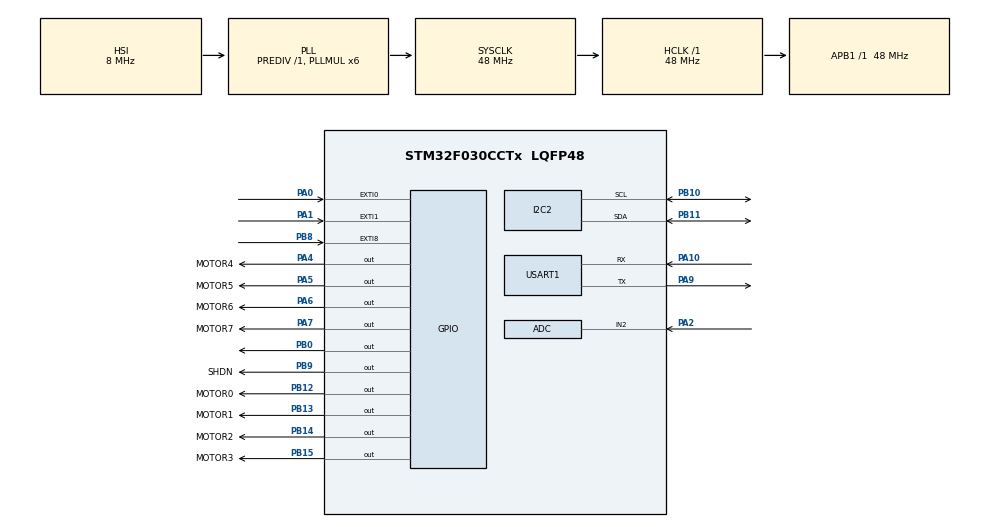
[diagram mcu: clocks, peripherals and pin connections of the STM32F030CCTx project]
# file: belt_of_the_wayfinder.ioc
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Mcu.Family=STM32F0
PB10.Mode=I2C
PB14.GPIO_Label=MOTOR2
I2C2.Timing=0x20303E5D
PA6.GPIO_Label=MOTOR6
PB13.GPIO_Label=MOTOR1
PB11.Signal=I2C2_SDA
PB13.Signal=GPIO_Output
PB15.Signal=GPIO_Output
PA5.PinState=GPIO_PIN_RESET
PB15.PinState=GPIO_PIN_RESET
RCC.SYSCLKSource=RCC_SYSCLKSOURCE_PLLCLK
ProjectManager.StackSize=0x400
PB11.GPIO_Speed=GPIO_SPEED_FREQ_HIGH
PA7.PinState=GPIO_PIN_RESET
RCC.HCLKFreq_Value=48000000
PB12.PinState=GPIO_PIN_RESET
RCC.AHBFreq_Value=48000000
PA4.GPIO_PuPd=GPIO_PULLDOWN
RCC.Usart1ClockSelection=RCC_USART1CLKSOURCE_HSI
RCC.PLLMUL=RCC_PLL_MUL6
PA4.GPIO_Speed=GPIO_SPEED_FREQ_MEDIUM
PB12.GPIO_Label=MOTOR0
PA6.GPIO_PuPd=GPIO_PULLDOWN
PA14.Mode=Serial_Wire
PA5.GPIO_PuPd=GPIO_PULLDOWN
TIM16.Pulse=1200
PA0.Signal=GPXTI0
PB9.Signal=GPIO_Output
Mcu.Package=LQFP48
PB14.GPIO_PuPd=GPIO_PULLDOWN
PA6.Signal=GPIO_Output
PB15.GPIO_PuPd=GPIO_PULLDOWN
PA10.Signal=USART1_RX
PB9.GPIO_PuPd=GPIO_PULLDOWN
RCC.APB1TimFreq_Value=48000000
TIM16.Prescaler=1-1
PA6.GPIO_Speed=GPIO_SPEED_FREQ_MEDIUM
PB11.GPIO_Mode=GPIO_MODE_AF_OD
PA4.GPIO_Label=MOTOR4
NVIC.EXTI4_15_IRQn=true\:0\:0\:false\:false\:true\:true\:true
PB9.GPIO_Label=SHDN
PA10.Mode=Asynchronous
PB11.GPIO_PuPdOD=GPIO_PULLUP
PA6.PinState=GPIO_PIN_RESET
VP_TIM16_VS_ClockSourceINT.Mode=Enable_Timer
NVIC.TIM16_IRQn=true\:0\:0\:false\:false\:true\:true\:true
TIM16.Channel=TIM_CHANNEL_1
USART1.VirtualMode-Asynchronous=VM_ASYNC
PA13.Signal=SYS_SWDIO
PA9.Mode=Asynchronous
PB14.PinState=GPIO_PIN_RESET
PA4.PinState=GPIO_PIN_RESET
PB11.Mode=I2C
ProjectManager.TargetToolchain=STM32CubeIDE
PB14.GPIO_Speed=GPIO_SPEED_FREQ_MEDIUM
PA9.Signal=USART1_TX
PB13.GPIO_Speed=GPIO_SPEED_FREQ_MEDIUM
PA7.GPIO_PuPd=GPIO_PULLDOWN
PA1.Signal=GPXTI1
PB12.GPIO_Speed=GPIO_SPEED_FREQ_MEDIUM
PB10.Signal=I2C2_SCL
PB14.Signal=GPIO_Output
PA5.Signal=GPIO_Output
board=custom
PA7.GPIO_Speed=GPIO_SPEED_FREQ_MEDIUM
PB13.GPIO_PuPd=GPIO_PULLDOWN
TIM16.Period=2400-1
PB13.PinState=GPIO_PIN_RESET
VP_TIM16_VS_no_output1.Mode=Output Compare1 No Output
PB15.GPIO_Label=MOTOR3
PB15.GPIO_Speed=GPIO_SPEED_FREQ_MEDIUM
PA13.Mode=Serial_Wire
Mcu.Name=STM32F030CCTx
PA2.Signal=ADC_IN2
PA4.Signal=GPIO_Output
RCC.SYSCLKFreq_VALUE=48000000
PA7.GPIO_Label=MOTOR7
PA5.GPIO_Label=MOTOR5
PA14.Signal=SYS_SWCLK
ProjectManager.HeapSize=0x200
PA5.GPIO_Speed=GPIO_SPEED_FREQ_MEDIUM
PA2.Mode=IN2
PB8.Signal=GPXTI8
PB12.GPIO_PuPd=GPIO_PULLDOWN
RCC.APB1Freq_Value=48000000
PB0.Signal=GPIO_Output
PB12.Signal=GPIO_Output
PA7.Signal=GPIO_Output
NVIC.EXTI0_1_IRQn=true\:0\:0\:false\:false\:true\:true\:true

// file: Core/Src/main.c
/* USER CODE BEGIN Header */
/**
  ******************************************************************************
  * @file           : main.c
  * @brief          : Main program body
  ******************************************************************************
  * @attention
  *
  * <h2><center>&copy; Copyright (c) 2022 STMicroelectronics.
  * All rights reserved.</center></h2>
  *
  * This software component is licensed by ST under BSD 3-Clause license,
  * the "License"; You may not use this file except in compliance with the
  * License. You may obtain a copy of the License at:
  *                        opensource.org/licenses/BSD-3-Clause
  *
  ******************************************************************************
  */

/**
 * How does this code function?
 * This section serves as notes and planning for a very lazy developer.  Here's the general idea
 * When the device starts up, it checks the compass's current direction.  It then draws a vector
 * pointing in that direction and determines which motors to vibrate (max 3) and turns them on.
 *
 * For now thats it.  Later can try interesting things with changing the vibration period and tone.
 */

/* USER CODE END Header */
#include "main.h"
#include "adc.h"
#include "i2c.h"
#include "tim.h"
#include "usart.h"
#include "gpio.h"

/* USER CODE BEGIN Includes */
#include <stdio.h>
#include <math.h>

/* USER CODE END Includes */

/* USER CODE BEGIN PV */

typedef struct {
	float x;
	float y;
} compass_vector_t;

typedef struct __attribute__((packed)) {
	int16_t X;
	int16_t Y;
	int16_t Z;
} magnetometer_reading_t;

typedef enum {
	SINGLE_BLINK,
	DOUBLE_BLINK,
} blink_type_t;

// register definitions
#define MAG_I2C_ID (0x1E << 1)
#define MAG_REG_CFG_A (0x60)
#define MAG_REG_CFG_C (0x62)
#define MAG_REG_OFFSETX_L (0x45)
#define MAG_REG_OUTX_L (0x68)

#define IMU_I2C_ID (0x6A << 1)
#define IMU_REG_WHOAMI (0x0F)
#define IMU_REG_MD1_CFG (0x5E)
#define IMU_REG_TAP_CFG (0x58)
#define IMU_REG_CTRL1_XL (0x10)
#define IMU_REG_TAPSRC (0x1C)
#define IMU_REG_FUNC_CFG_ACCESS (0x01)
#define IMU_REG_FIFO_CTRL5 (0x0A)

#define IMU_MD1_CFG (0b00001000)
#define IMU_TAP_CFG (0b10001111)  // TODO remove last bit as latch
#define IMU_CTRL1_XL (0b01000000)
#define IMU_FUNC_CFG_ACCESS (0b10100000)
#define IMU_FIFO_CTRL5 (0b00100110)

static magnetometer_reading_t mag_offset = {
	.X = -136,
	.Y = -352,
	.Z = -216
};

GPIO_TypeDef* motor_ports[] = {GPIOB, GPIOB, GPIOB, GPIOB, GPIOA, GPIOA, GPIOA, GPIOA};
uint16_t motor_pins[] = {GPIO_PIN_12, GPIO_PIN_13, GPIO_PIN_14, GPIO_PIN_15, GPIO_PIN_4, GPIO_PIN_5, GPIO_PIN_6, GPIO_PIN_7};
unsigned int target_buzzer = 0;

#define LED_PORT GPIOB
#define LED_PIN GPIO_PIN_0

/* USER CODE END PV */

void SystemClock_Config(void);
/* USER CODE BEGIN PFP */

static void init_mag(void);
static void init_imu(void);
static void get_compass_direction(compass_vector_t *direction);
static void set_buzzers(compass_vector_t *direction);
static void error_blink(blink_type_t blink_type);
static void set_mag_offset(void);
static void motor_test(void);
static void configure_charger(void);
static void configure_motors(void);

/* USER CODE END PFP */

int main(void)
{

  /* MCU Configuration--------------------------------------------------------*/

  /* Reset of all peripherals, Initializes the Flash interface and the Systick. */
  HAL_Init();

  /* Configure the system clock */
  SystemClock_Config();

  /* USER CODE BEGIN SysInit */
/*
  HAL_NVIC_DisableIRQ(SysTick_IRQn);
  HAL_SYSTICK_CLKSourceConfig(SYSTICK_CLKSOURCE_HCLK);
  HAL_SYSTICK_Config(HAL_RCC_GetHCLKFreq()/1000);
  HAL_NVIC_EnableIRQ(SysTick_IRQn);
*/

  /* USER CODE END SysInit */

  /* Initialize all configured peripherals */
  MX_GPIO_Init();
  MX_ADC_Init();
  MX_I2C2_Init();
  MX_USART1_UART_Init();
  MX_TIM16_Init();
  /* USER CODE BEGIN 2 */
  char *start_string = "belt system initialized!\n";
  HAL_UART_Transmit(&huart1, start_string, sizeof(start_string), 1000);
  /* USER CODE END 2 */

  /* Infinite loop */
  /* USER CODE BEGIN WHILE */
  // nice linky: https://www.youtube.com/watch?v=VfbW6nfG4kw
  // may need to set NVIC enable on the IRQ for the timer: https://electronics.stackexchange.com/questions/544797/output-compares-triggering-function-not-work-on-stm32

  compass_vector_t direction;
  init_mag();
  set_mag_offset();
  init_imu();
  configure_motors();
  configure_charger();
  //motor_test();

  HAL_TIM_Base_Start_IT(&htim16);

  while (1)
  {
	get_compass_direction(&direction);
	configure_motors();
	//set_buzzers(&direction);
	HAL_Delay(500);

    /* USER CODE END WHILE */

  }
}

void SystemClock_Config(void)
{
  RCC_OscInitTypeDef RCC_OscInitStruct = {0};
  RCC_ClkInitTypeDef RCC_ClkInitStruct = {0};
  RCC_PeriphCLKInitTypeDef PeriphClkInit = {0};

  /** Initializes the RCC Oscillators according to the specified parameters
  * in the RCC_OscInitTypeDef structure.
  */
  RCC_OscInitStruct.OscillatorType = RCC_OSCILLATORTYPE_HSI|RCC_OSCILLATORTYPE_HSI14;
  RCC_OscInitStruct.HSIState = RCC_HSI_ON;
  RCC_OscInitStruct.HSI14State = RCC_HSI14_ON;
  RCC_OscInitStruct.HSICalibrationValue = RCC_HSICALIBRATION_DEFAULT;
  RCC_OscInitStruct.HSI14CalibrationValue = 16;
  RCC_OscInitStruct.PLL.PLLState = RCC_PLL_ON;
  RCC_OscInitStruct.PLL.PLLSource = RCC_PLLSOURCE_HSI;
  RCC_OscInitStruct.PLL.PLLMUL = RCC_PLL_MUL6;
  RCC_OscInitStruct.PLL.PREDIV = RCC_PREDIV_DIV1;
  if (HAL_RCC_OscConfig(&RCC_OscInitStruct) != HAL_OK)
  {
    Error_Handler();
  }
  /** Initializes the CPU, AHB and APB buses clocks
  */
  RCC_ClkInitStruct.ClockType = RCC_CLOCKTYPE_HCLK|RCC_CLOCKTYPE_SYSCLK
                              |RCC_CLOCKTYPE_PCLK1;
  RCC_ClkInitStruct.SYSCLKSource = RCC_SYSCLKSOURCE_PLLCLK;
  RCC_ClkInitStruct.AHBCLKDivider = RCC_SYSCLK_DIV1;
  RCC_ClkInitStruct.APB1CLKDivider = RCC_HCLK_DIV1;

  if (HAL_RCC_ClockConfig(&RCC_ClkInitStruct, FLASH_LATENCY_1) != HAL_OK)
  {
    Error_Handler();
  }
  PeriphClkInit.PeriphClockSelection = RCC_PERIPHCLK_USART1;
  PeriphClkInit.Usart1ClockSelection = RCC_USART1CLKSOURCE_HSI;
  if (HAL_RCCEx_PeriphCLKConfig(&PeriphClkInit) != HAL_OK)
  {
    Error_Handler();
  }
}

/* USER CODE BEGIN 4 */

static void init_mag(void) {
	// nominal startup, consult the datasheet
	uint8_t cfga_nominal[] = {0x80};
	uint8_t cfgc_nominal[] = {0x01};

	HAL_StatusTypeDef stat_a = HAL_I2C_Mem_Write(&hi2c2, MAG_I2C_ID, MAG_REG_CFG_A, 1, cfga_nominal, sizeof(cfga_nominal), 1000);
	HAL_StatusTypeDef stat_c = HAL_I2C_Mem_Write(&hi2c2, MAG_I2C_ID, MAG_REG_CFG_C, 1, cfgc_nominal, sizeof(cfga_nominal), 1000);

	if(stat_a != HAL_OK || stat_c != HAL_OK) {
		error_blink(DOUBLE_BLINK);
	}
}

static void set_mag_offset(void) {
	HAL_StatusTypeDef stat_a = HAL_I2C_Mem_Write(&hi2c2, MAG_I2C_ID, MAG_REG_OFFSETX_L, 1, &mag_offset, sizeof(mag_offset), 1000);
}

static HAL_StatusTypeDef imu_write_reg(uint8_t reg, uint8_t value) {
	uint8_t val[] = {value};
	HAL_StatusTypeDef stat = HAL_I2C_Mem_Read(&hi2c2, IMU_I2C_ID, reg, 1, val, sizeof(val), 1000);
	return stat;
}

static void init_imu(void) {
	uint8_t ID[] = {0x00};
	HAL_StatusTypeDef stat = HAL_I2C_Mem_Read(&hi2c2, IMU_I2C_ID, IMU_REG_WHOAMI, 1, ID, sizeof(ID), 1000);

	HAL_StatusTypeDef stat_md1 = imu_write_reg(IMU_REG_MD1_CFG, IMU_MD1_CFG);
	HAL_StatusTypeDef stat_tap = imu_write_reg(IMU_REG_TAP_CFG, IMU_TAP_CFG);
	HAL_StatusTypeDef stat_nom = imu_write_reg(IMU_REG_CTRL1_XL, IMU_CTRL1_XL);
	HAL_StatusTypeDef stat_fifo = imu_write_reg(IMU_REG_FIFO_CTRL5, IMU_FIFO_CTRL5);

	if((stat | stat_md1 | stat_tap | stat_nom ) != HAL_OK) {
		error_blink(DOUBLE_BLINK);
	}
}

static void error_blink(blink_type_t blink_type) {
	switch(blink_type) {
		case DOUBLE_BLINK:
			HAL_GPIO_WritePin(LED_PORT, LED_PIN, GPIO_PIN_SET);
			HAL_Delay(250);
			HAL_GPIO_WritePin(LED_PORT, LED_PIN, GPIO_PIN_RESET);
			HAL_Delay(250);
			HAL_GPIO_WritePin(LED_PORT, LED_PIN, GPIO_PIN_SET);
			HAL_Delay(250);
			HAL_GPIO_WritePin(LED_PORT, LED_PIN, GPIO_PIN_RESET);
			break;
		default:
			break;
	}
}

static void get_compass_direction(compass_vector_t *direction) {
	static magnetometer_reading_t reading;
	HAL_I2C_Mem_Read(&hi2c2, MAG_I2C_ID, MAG_REG_OUTX_L, 1, (uint8_t *)&reading, sizeof(reading), HAL_MAX_DELAY);

	// lazy change of coordinate frames, probably wrong
	direction->x = (float)reading.X;
	direction->y = (float)reading.Z;
	float x = direction->x;
	float y = direction->y;

	// bad cohesion!  Probably break this stuff out into vector management functions
	float length = sqrt(x*x + y*y);
	if(abs(length) < 0.001) {
		direction->y = 1.0;
		direction->x = 0.0;
	} else {
		direction->x /= length;
		direction->y /= length;
	}

	static char message[64];
	int string_length = sprintf(message, "Got new reading: %f %f\n", direction->x, direction->y);
	HAL_UART_Transmit(&huart1, message, string_length, HAL_MAX_DELAY);
}

static void set_buzzers(compass_vector_t *direction) {
	// pick a buzzer based on the direction.

	// make angle from 0 to 8 with wrapping
	// in a better world, this wouldn't be coupled to the number of motors, but am lazy...
	float angle = (atan2(direction->x, direction->y) / (2.0*3.14159)) * 8.0;
	unsigned int new_target = 0;
	if(angle < 0.5 || angle > 7.5) {
		new_target = 0;
	} else {
		new_target = (unsigned int)(angle + 0.5);
	}
	HAL_TIM_Base_Stop_IT(&htim16);
	// probably clear timer or something
	HAL_GPIO_WritePin(motor_ports[target_buzzer], motor_pins[target_buzzer], GPIO_PIN_RESET);
	target_buzzer = new_target;
	HAL_TIM_Base_Start_IT(&htim16);

	static char message[64];
	int string_length = sprintf(message, "Setting motor: %d\n", new_target);
	HAL_UART_Transmit(&huart1, message, string_length, HAL_MAX_DELAY);
}

static void motor_test(void) {
	int num_motors = sizeof(motor_ports) / sizeof(motor_ports[0]);
	for(int i = 0; i < num_motors; i++) {
		HAL_GPIO_WritePin(motor_ports[i], motor_pins[i], GPIO_PIN_SET);
		HAL_Delay(100);
		HAL_GPIO_WritePin(motor_ports[i], motor_pins[i], GPIO_PIN_RESET);
		HAL_Delay(100);
	}
}

static void configure_motors(void) {
	int num_motors = sizeof(motor_ports) / sizeof(motor_ports[0]);
	for(int i = 0; i < num_motors; i++) {
		//HAL_GPIO_WritePin(motor_ports[i], motor_pins[i], GPIO);
		HAL_GPIO_TogglePin(motor_ports[i], motor_pins[i]);
	}
}

static void configure_charger(void) {
	HAL_GPIO_WritePin(SHDN_GPIO_Port, SHDN_Pin, GPIO_PIN_SET);
}

void HAL_TIM_PeriodElapsedCallback(TIM_HandleTypeDef *htim) {
	if(htim == &htim16) {

		//HAL_GPIO_WritePin(motor_ports[target_buzzer], motor_pins[target_buzzer], GPIO_PIN_SET);
	}
}

void HAL_TIM_OC_DelayElapsedCallback(TIM_HandleTypeDef *htim) {
	if(htim == &htim16) {
		//HAL_GPIO_WritePin(motor_ports[target_buzzer], motor_pins[target_buzzer], GPIO_PIN_RESET);
	}
}

void HAL_GPIO_EXTI_Callback(uint16_t GPIO_Pin) {
	//HAL_GPIO_TogglePin(LED_PORT, LED_PIN);
}

/* USER CODE END 4 */

void Error_Handler(void)
{
  __disable_irq();
  while (1)
  {
  }
}

/************************ (C) COPYRIGHT STMicroelectronics *****END OF FILE****/
